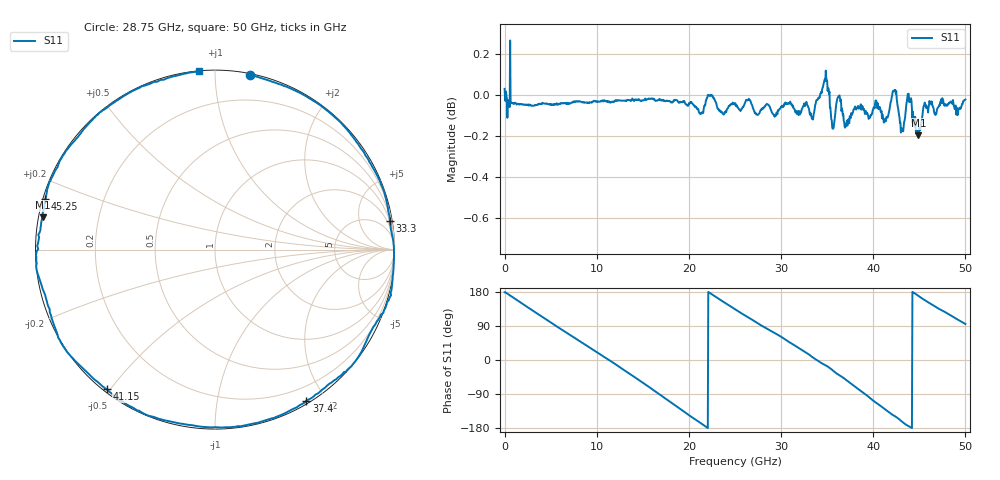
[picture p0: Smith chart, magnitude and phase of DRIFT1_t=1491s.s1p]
!Created with skrf (http://scikit-rf.org).
# Hz S RI R 50.0
!freq ReS11 ImS11
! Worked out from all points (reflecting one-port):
!   1001 points, 300 kHz to 50 GHz, reference 50 ohm
!   lowest |S11| = -0.2 dB at 44.9 GHz (marker M1), VSWR 87.98, Z = 0.573 + j4.65 ohm
!   phase of S11 starts at 179 deg and turns -804 deg over the sweep
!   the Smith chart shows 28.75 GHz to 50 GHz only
!   S11 on the Smith chart (normalised r, x): 28.75 GHz: 0.01, +1.22; 33.3 GHz: 1, +12; 37.4 GHz: 0.03, -1.77; 41.15 GHz: 0.01, -0.49; 45.25 GHz: 0.01, +0.15; 50 GHz: 0.00, +0.92
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300000  -1.003 0.0205
1.70029e9  -0.8802 0.4637
3.550279e9  -0.529 0.8419
6.250262e9  0.1836 0.9782
7.900253e9  0.5905 0.8025
9.750242e9  0.904 0.4193
1.250022e10  0.9423 -0.3247
1.400022e10  0.7259 -0.6835
1.58502e10  0.2719 -0.96
1.72502e10  -0.1417 -0.9869
1.875019e10  -0.5552 -0.8277
2.030018e10  -0.8677 -0.4883
2.195017e10  -0.9975 -0.0373
2.500015e10  -0.6918 0.7157
2.675014e10  -0.3056 0.9472
2.875013e10  0.193 0.9747
3.125011e10  0.7416 0.6609
3.33001e10  0.9747 0.1592
3.510009e10  0.9559 -0.3058
3.740008e10  0.5084 -0.8428
3.750008e10  0.4829 -0.8614
3.925006e10  -0.0407 -0.9894
4.115005e10  -0.6029 -0.7784
4.375004e10  -0.994 -0.1141
4.490003e10  -0.9607 0.1803
4.525003e10  -0.9444 0.2829
4.740002e10  -0.6616 0.7467
5e10  -0.0873 0.9935
